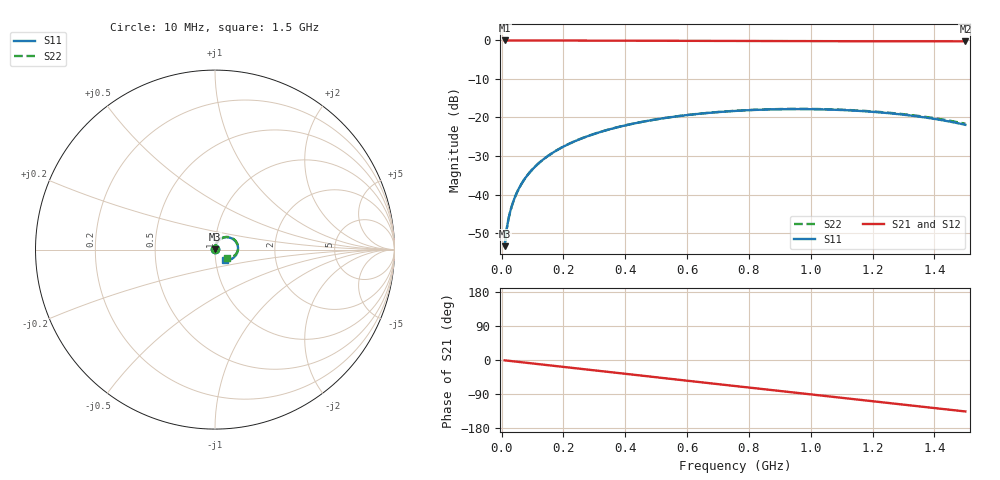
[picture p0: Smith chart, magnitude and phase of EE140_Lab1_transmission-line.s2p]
! Touchstone file exported from HFSS 2026.1.0
!  File:  C:/Users/017978376/Downloads/EE140L-main/EE140L-main/lab1a_transmission-line/EE140_Lab1a.aedt
!  Generated:  06:32:15 PM Sep 25, 2026
!  Design:  HFSSDesign1
!  Project:  EE140_Lab1a
!  Setup:  Setup1
!  Solution:  Sweep
! Variables:
!  W = 3mm
!  cu_th = 0.035mm
!  er = 4.4
!  h = 1.6mm
# GHz S MA R 50.000000
! Terminal data exported
! Port[1] = 1
! Port[2] = 2
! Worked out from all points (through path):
!   401 points, 10 MHz to 1.5 GHz, reference 50 ohm
!   highest |S21| = 0.00 dB at 10 MHz (marker M1); lowest = -0.2 dB at 1.5 GHz (marker M2)
!   group delay of S21, straight-line fit = 251 ps
!   lowest |S11| = -53.4 dB at 10 MHz (marker M3), VSWR 1.00, Z = 50 + j0.214 ohm
!   |S11| at or under -10 dB: start of sweep to end of sweep
!   |S22| runs from -53.4 to -17.8 dB; largest |S21 - S12| = 1.7e-14
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0.01  0.002138 92.3  0.9999 -0.9  0.9999 -0.9  0.002138 92.3
! Gamma 0 0 0 0
! Port Impedance 50 0 50 0
0.013725  0.002933 91.4  0.9999 -1.3  0.9999 -1.3  0.002933 91.5
0.0249  0.005317 90.1  0.9998 -2.3  0.9998 -2.3  0.005318 90.2
0.036075  0.007702 89.3  0.9996 -3.3  0.9996 -3.3  0.007702 89.4
0.043525  0.00929 88.9  0.9995 -4.0  0.9995 -4.0  0.009291 89.0
0.0547  0.01167 88.1  0.9993 -5.0  0.9993 -5.0  0.01167 88.2
0.065875  0.01405 87.3  0.9991 -6.0  0.9991 -6.0  0.01405 87.4
0.080775  0.01721 86.0  0.9988 -7.4  0.9988 -7.4  0.01721 86.2
0.1143  0.02425 82.4  0.9984 -10.4  0.9984 -10.4  0.02426 82.7
0.155275  0.03276 78.3  0.9978 -14.2  0.9978 -14.2  0.03278 78.7
0.2037  0.0426 73.8  0.997 -18.6  0.997 -18.6  0.04263 74.3
0.259575  0.0536 68.7  0.9958 -23.7  0.9958 -23.7  0.05366 69.3
0.371325  0.07409 58.6  0.9929 -33.9  0.9929 -33.9  0.07421 59.5
0.50915  0.09579 46.1  0.9889 -46.4  0.9889 -46.4  0.09602 47.5
0.632075  0.111 34.9  0.9854 -57.5  0.9854 -57.5  0.1114 36.7
0.755  0.1217 23.7  0.9821 -68.6  0.9821 -68.6  0.1222 26.0
0.88165  0.1276 12.0  0.9793 -80.0  0.9793 -80.0  0.1284 15.1
1.004575  0.1282 0.7  0.9772 -91.1  0.9772 -91.1  0.1291 4.7
1.1275  0.1236 -10.8  0.9758 -102.2  0.9758 -102.2  0.1248 -5.5
1.25415  0.1136 -22.8  0.9749 -113.6  0.9749 -113.6  0.1152 -15.7
1.3808  0.09857 -35.2  0.9744 -125.0  0.9744 -125.0  0.1006 -25.2
1.5  0.08034 -47.5  0.9742 -135.8  0.9742 -135.8  0.08292 -33.2
